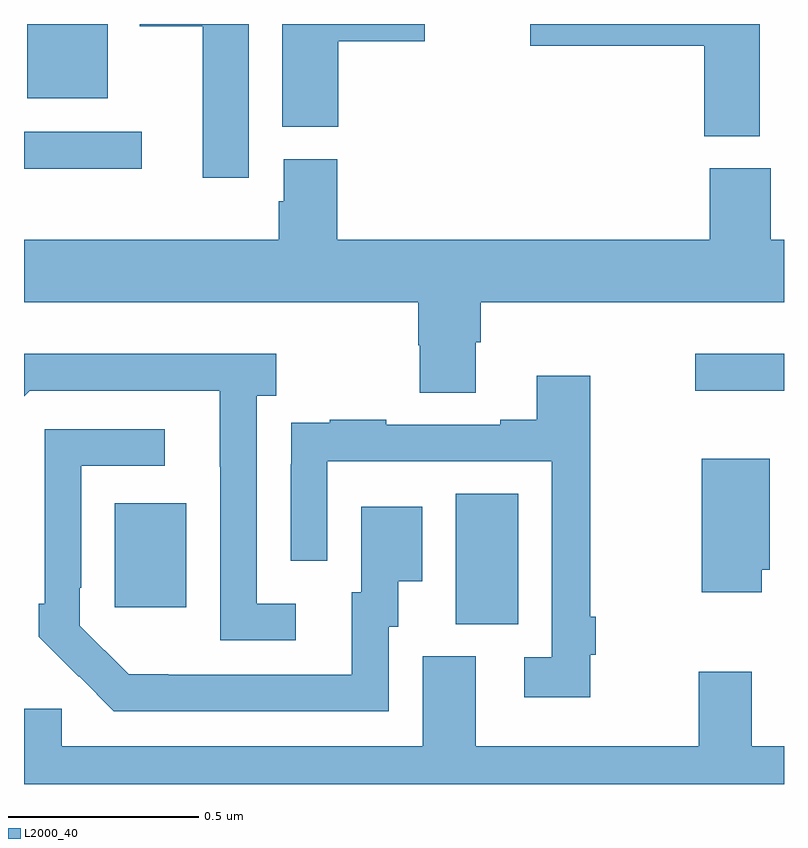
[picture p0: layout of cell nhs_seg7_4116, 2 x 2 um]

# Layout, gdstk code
import gdstk
lib = gdstk.Library(unit=1e-6, precision=1e-09)
def R(c, l, rs):  # rectangles x0, y0, x1, y1
    for r in rs: c.add(gdstk.rectangle(r[:2], r[2:], *l))
def P(c, l, *ps):  # polygons
    for p in ps: c.add(gdstk.Polygon(p, *l))
L2000_40 = (2000, 40)

nhs_seg7_4116 = lib.new_cell('nhs_seg7_4116')
R(nhs_seg7_4116, L2000_40, [(169.136,1014.421,169.3,1014.764), (168.239,1014.465,168.427,1014.739), (169.767,1015.035,170,1015.132), (168,1015.619,168.31,1015.716), (168.008,1015.805,168.22,1016)])
P(nhs_seg7_4116, L2000_40, [(169.936,1016),(169.332,1016),(169.332,1015.943),(169.79,1015.943),(169.79,1015.705),(169.936,1015.705)],
  [(168.592,1016),(168.305,1016),(168.305,1015.994),(168.47,1015.994),(168.47,1015.596),(168.592,1015.596)],
  [(168.827,1015.955),(169.054,1015.955),(169.054,1016),(168.68,1016),(168.68,1015.729),(168.827,1015.729)],
  [(168.683,1015.644),(168.683,1015.533),(168.671,1015.533),(168.671,1015.432),(168,1015.432),(168,1015.268),(169.037,1015.268),(169.037,1015.155),(169.042,1015.155),(169.042,1015.03),(169.189,1015.03),(169.189,1015.162),(169.202,1015.162),(169.202,1015.268),(170,1015.268),(170,1015.432),(169.965,1015.432),(169.965,1015.62),(169.805,1015.62),(169.805,1015.432),(168.824,1015.432),(168.824,1015.644)],
  [(168.715,1014.474),(168.612,1014.474),(168.612,1015.022),(168.664,1015.022),(168.664,1015.132),(168,1015.132),(168,1015.02),(168.015,1015.035),(168.515,1015.035),(168.515,1014.835),(168.516,1014.835),(168.516,1014.378),(168.715,1014.378)],
  [(169.49,1014.34),(169.505,1014.34),(169.505,1014.44),(169.49,1014.44),(169.49,1015.075),(169.349,1015.075),(169.349,1014.958),(169.253,1014.958),(169.253,1014.945),(168.953,1014.945),(168.953,1014.958),(168.805,1014.958),(168.805,1014.951),(168.703,1014.951),(168.703,1014.842),(168.702,1014.842),(168.702,1014.588),(168.798,1014.588),(168.798,1014.849),(169.389,1014.849),(169.389,1014.333),(169.317,1014.333),(169.317,1014.228),(169.49,1014.228)],
  [(168.96,1014.414),(168.985,1014.414),(168.985,1014.533),(169.048,1014.533),(169.048,1014.73),(168.887,1014.73),(168.887,1014.504),(168.863,1014.504),(168.863,1014.288),(168.379,1014.288),(168.379,1014.289),(168.276,1014.289),(168.147,1014.417),(168.147,1014.517),(168.15,1014.517),(168.15,1014.837),(168.37,1014.837),(168.37,1014.933),(168.054,1014.933),(168.054,1014.475),(168.039,1014.475),(168.039,1014.387),(168.144,1014.282),(168.145,1014.283),(168.236,1014.192),(168.96,1014.192)],
  [(169.942,1014.564),(169.963,1014.564),(169.963,1014.856),(169.784,1014.856),(169.784,1014.504),(169.942,1014.504)],
  [(170,1014.1),(169.915,1014.1),(169.915,1014.295),(169.775,1014.295),(169.775,1014.1),(169.189,1014.1),(169.189,1014.336),(169.049,1014.336),(169.049,1014.1),(168.099,1014.1),(168.099,1014.198),(168,1014.198),(168,1014),(170,1014)])

lib.write_gds('nhs_seg7_4116.gds')
